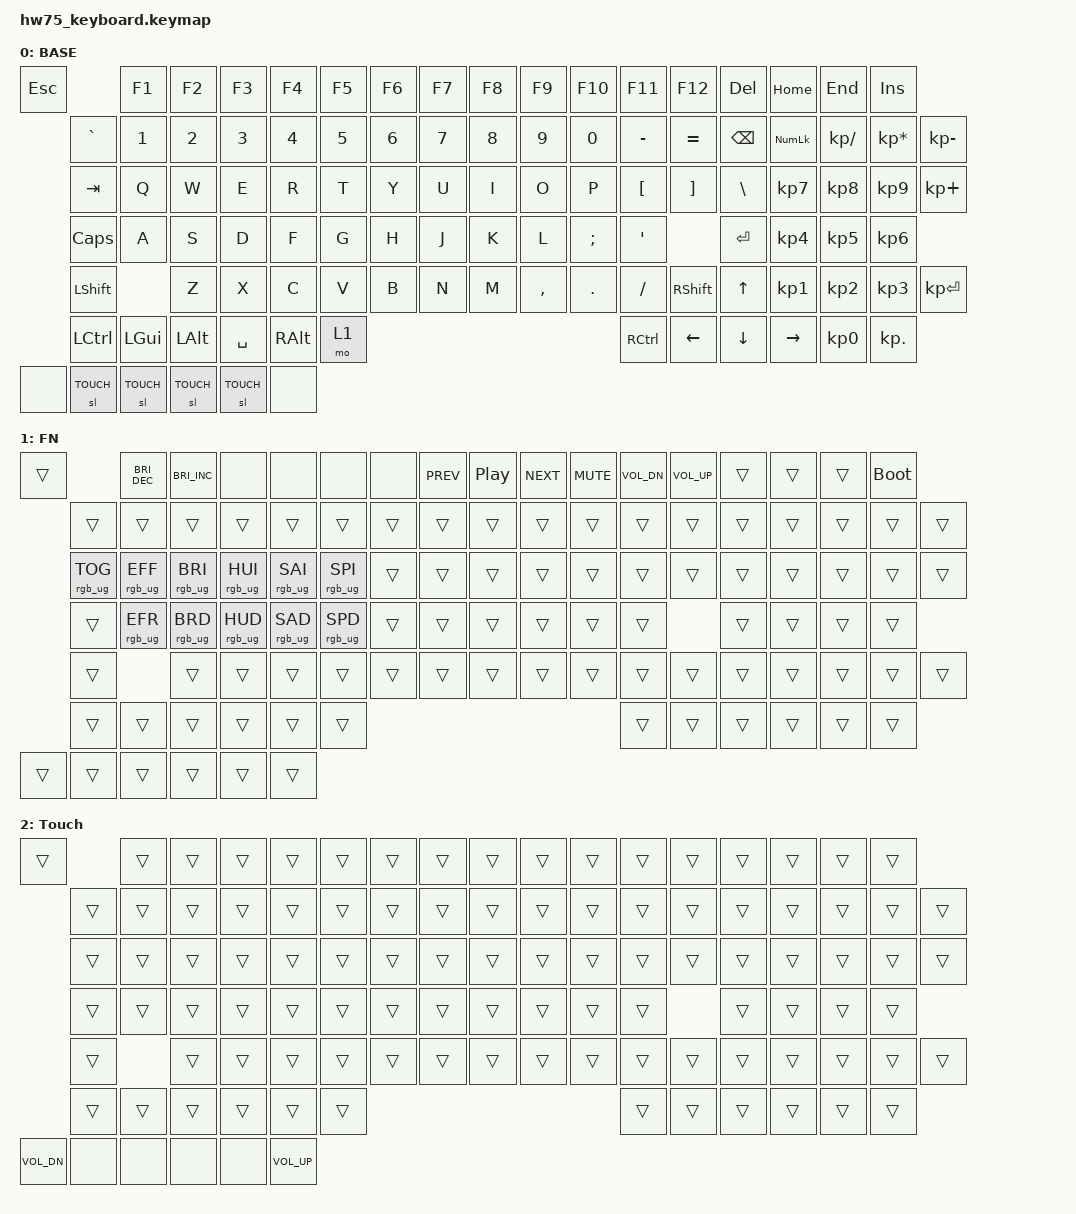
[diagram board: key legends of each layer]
/*
 * Copyright (c) 2022 The ZMK Contributors
 * SPDX-License-Identifier: MIT
 */

#include <behaviors.dtsi>
#include <dt-bindings/zmk/keys.h>
#include <dt-bindings/zmk/rgb.h>

#define BASE 0
#define FN 1
#define TOUCH 2

&sl {
  release-after-ms = <500>;
};

	

/ {


	keymap {
		compatible = "zmk,keymap";
		base {
			label = "BASE";
			bindings = <   
				&kp ESC                &kp F1    &kp F2  &kp F3  &kp F4     &kp F5  &kp F6  &kp F7     &kp F8      &kp F9    &kp F10    &kp F11    &kp F12     &kp DEL          &kp HOME          &kp END          &kp INS
                                &kp GRAVE    &kp N1    &kp N2    &kp N3  &kp N4  &kp N5     &kp N6  &kp N7  &kp N8     &kp N9      &kp N0    &kp MINUS  &kp EQUAL  &kp BSPC    &kp KP_NUMLOCK   &kp KP_SLASH      &kp KP_ASTERISK  &kp KP_MINUS
                                &kp TAB      &kp Q     &kp W     &kp E   &kp R   &kp T      &kp Y   &kp U   &kp I      &kp O       &kp P     &kp LBKT   &kp RBKT   &kp BSLH    &kp KP_NUMBER_7  &kp KP_NUMBER_8   &kp KP_NUMBER_9  &kp KP_PLUS
                                &kp CLCK     &kp A     &kp S     &kp D   &kp F   &kp G      &kp H   &kp J   &kp K      &kp L       &kp SEMI  &kp SQT               &kp RET     &kp KP_NUMBER_4  &kp KP_NUMBER_5   &kp KP_NUMBER_6
                                &kp LSHFT              &kp Z     &kp X   &kp C   &kp V      &kp B   &kp N   &kp M      &kp COMMA   &kp DOT   &kp FSLH   &kp RSHFT  &kp UP      &kp KP_NUMBER_1  &kp KP_NUMBER_2   &kp KP_NUMBER_3  &kp KP_ENTER
                                &kp LCTRL    &kp LGUI  &kp LALT                          &kp SPACE                     &kp RALT    &mo 1     &kp RCTRL  &kp LEFT   &kp DOWN    &kp RIGHT        &kp KP_NUMBER_0   &kp KP_DOT
				&none &sl TOUCH &sl TOUCH &sl TOUCH &sl TOUCH &none
			>;
		};

		fn {
			label = "FN";
			bindings = <
				&trans                            &kp C_BRI_DEC    &kp C_BRI_INC            &none            &none   &none   &none  &kp C_PREV  &kp C_PP  &kp C_NEXT  &kp C_MUTE  &kp C_VOL_DN  &kp C_VOL_UP  &trans  &trans  &trans  &bootloader
                                &trans           &trans           &trans           &trans           &trans           &trans  &trans  &trans      &trans    &trans      &trans      &trans        &trans        &trans  &trans  &trans  &trans  &trans
                                &rgb_ug RGB_TOG  &rgb_ug RGB_EFF  &rgb_ug RGB_BRI  &rgb_ug RGB_HUI  &rgb_ug RGB_SAI  &rgb_ug RGB_SPI  &trans  &trans      &trans    &trans      &trans      &trans        &trans        &trans  &trans  &trans  &trans  &trans
                                &trans  &rgb_ug RGB_EFR  &rgb_ug RGB_BRD  &rgb_ug RGB_HUD  &rgb_ug RGB_SAD  &rgb_ug RGB_SPD  &trans  &trans      &trans    &trans      &trans      &trans                      &trans  &trans  &trans  &trans
                                &trans                            &trans           &trans           &trans           &trans  &trans  &trans      &trans    &trans      &trans      &trans        &trans        &trans  &trans  &trans  &trans  &trans
                                &trans           &trans           &trans                                                     &trans                        &trans      &trans      &trans        &trans        &trans  &trans  &trans  &trans
				&trans  &trans  &trans  &trans  &trans  &trans
			>;
		};

		touch {
			label = "Touch";
			bindings = <
				&trans          &trans  &trans  &trans  &trans  &trans  &trans  &trans  &trans  &trans  &trans  &trans  &trans  &trans &trans &trans &trans
				&trans  &trans  &trans  &trans  &trans  &trans  &trans  &trans  &trans  &trans  &trans  &trans  &trans  &trans  &trans &trans &trans &trans
				&trans  &trans  &trans  &trans  &trans  &trans  &trans  &trans  &trans  &trans  &trans  &trans  &trans  &trans  &trans &trans &trans &trans
				&trans  &trans  &trans  &trans  &trans  &trans  &trans  &trans  &trans  &trans  &trans  &trans          &trans  &trans &trans &trans
				&trans          &trans  &trans  &trans  &trans  &trans  &trans  &trans  &trans  &trans  &trans  &trans  &trans  &trans &trans &trans &trans
				&trans  &trans  &trans                          &trans                  &trans  &trans  &trans  &trans  &trans  &trans &trans &trans
				&kp C_VOL_DN &none &none &none &none &kp C_VOL_UP
			>;
		};
	};
};
